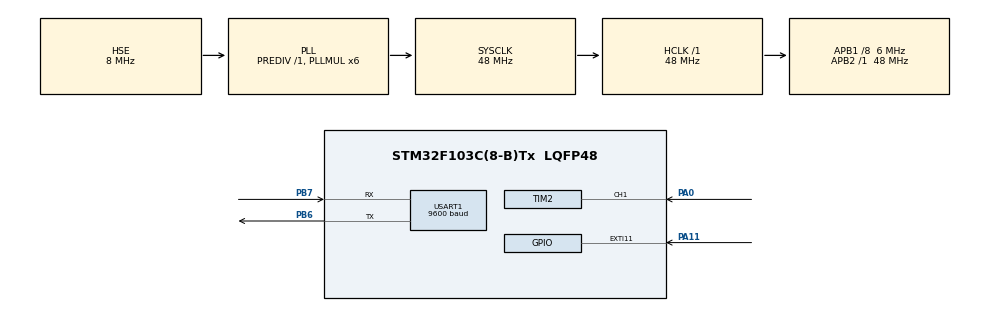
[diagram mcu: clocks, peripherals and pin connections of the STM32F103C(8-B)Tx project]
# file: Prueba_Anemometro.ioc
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Mcu.Family=STM32F1
Mcu.Name=STM32F103C(8-B)Tx
Mcu.Package=LQFP48
NVIC.EXTI15_10_IRQn=true\:0\:0\:false\:false\:true\:true\:true\:true
NVIC.PriorityGroup=NVIC_PRIORITYGROUP_4
NVIC.TIM2_IRQn=true\:0\:0\:false\:false\:true\:true\:true\:true
PA0-WKUP.Signal=S_TIM2_CH1_ETR
PA11.GPIO_ModeDefaultEXTI=GPIO_MODE_IT_FALLING
PA11.GPIO_PuPd=GPIO_NOPULL
PA11.Signal=GPXTI11
PA13.Mode=Serial_Wire
PA13.Signal=SYS_JTMS-SWDIO
PA14.Mode=Serial_Wire
PA14.Signal=SYS_JTCK-SWCLK
PB6.Mode=Asynchronous
PB6.Signal=USART1_TX
PB7.Mode=Asynchronous
PB7.Signal=USART1_RX
PD0-OSC_IN.Mode=HSE-External-Oscillator
PD0-OSC_IN.Signal=RCC_OSC_IN
PD1-OSC_OUT.Mode=HSE-External-Oscillator
PD1-OSC_OUT.Signal=RCC_OSC_OUT
ProjectManager.HeapSize=0x200
ProjectManager.StackSize=0x400
ProjectManager.TargetToolchain=STM32CubeIDE
RCC.AHBFreq_Value=48000000
RCC.APB1CLKDivider=RCC_HCLK_DIV8
RCC.APB1Freq_Value=6000000
RCC.APB1TimFreq_Value=12000000
RCC.APB2Freq_Value=48000000
RCC.APB2TimFreq_Value=48000000
RCC.HCLKFreq_Value=48000000
RCC.PLLMUL=RCC_PLL_MUL6
RCC.PLLSourceVirtual=RCC_PLLSOURCE_HSE
RCC.SYSCLKFreq_VALUE=48000000
RCC.SYSCLKSource=RCC_SYSCLKSOURCE_PLLCLK
RCC.USBFreq_Value=48000000
SH.S_TIM2_CH1_ETR.0=TIM2_CH1,Input_Capture1_from_TI1
TIM2.Channel-Input_Capture1_from_TI1=TIM_CHANNEL_1
TIM2.Channel-Output\ Compare2\ No\ Output=TIM_CHANNEL_2
TIM2.Period=59999
TIM2.Prescaler=60000
TIM2.Pulse-Output\ Compare2\ No\ Output=999
USART1.BaudRate=9600
USART1.VirtualMode=VM_ASYNC
VP_TIM2_VS_ClockSourceINT.Mode=Internal
VP_TIM2_VS_no_output2.Mode=Output Compare2 No Output
board=custom

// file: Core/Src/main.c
/* USER CODE BEGIN Header */
/**
  ******************************************************************************
  * @file           : main.c
  * @brief          : Main program body
  ******************************************************************************
  * @attention
  *
  * Copyright (c) 2022 STMicroelectronics.
  * All rights reserved.
  *
  * This software is licensed under terms that can be found in the LICENSE file
  * in the root directory of this software component.
  * If no LICENSE file comes with this software, it is provided AS-IS.
  *
  ******************************************************************************
  */
/* USER CODE END Header */
#include "main.h"

/* USER CODE BEGIN Includes */
#include "stdio.h"
#include "string.h"
/* USER CODE END Includes */

/* USER CODE BEGIN PD */
#define D 0.2098 // Diámetro de la trayectoria circular descrita por las cucharas del anemómetro (en m)
#define pi 3.141592654 // Número pi
#define N 60 // Número de muestras de vel. de viento a tomar en un intervalo de 5 min
/* USER CODE END PD */

TIM_HandleTypeDef htim2;

UART_HandleTypeDef huart1;

void SystemClock_Config(void);
static void MX_GPIO_Init(void);
static void MX_TIM2_Init(void);
static void MX_USART1_UART_Init(void);
/* USER CODE BEGIN PFP */
float Obtener_Vel_Viento(void);
float Promedio_Muestras(float[]);
/* USER CODE END PFP */

/* USER CODE BEGIN 0 */
/* Este programa permite tomar muestras de la velocidad del viento cada 10 s. El anemómetro funciona gracias
 * a un sensor detector de campo magnético por efecto Hall, el cual detecta el campo magnético generado por
 * un imán de neodimio ubicado sobre la pieza móvil. Cuando el sensor detecta el campo magnético, su salida
 * pasa de 1 a 0, lo que constituye un flanco descendente. A medida que la pieza móvil gira, el imán pasa
 * varias veces por la posición del sensor, por lo que se generan distintos pulsos que pueden ser detectados
 * mediante una interrupción por flanco descendente.
 * La velocidad del viento se mide contando la cantidad de pulsos generados en un intervalo de tiempo
 * determinado. En este caso, se contarán la cantidad de pulsos en 10 s, y luego se hará la conversión de
 * velocidad angular a velocidad lineal.
 * Para generar las demoras necesarias para el conteo de pulsos, se utilizará el timer TIM2. Se configura
 * el canal CH2 en modo output compare. El valor de autorecarga del contador (valor máximo) será de 60.000,
 * y la frecuencia de reloj del sistema es de 12 MHz. Para que el contador realice 60.000 cuentas en 5 min
 * (300 s), el prescaler debe valer 60.000. De esta manera, el contador realiza 200 cuentas en 1 s.
 * El canal 2 del TIM2 genera la demora necesaria para tomar las muestras de la velocidad del viento. Al
 * iniciar el programa, comienza el conteo de pulsos, y dicho conteo se realiza durante 10 s. Esto significa
 * que el registro de capture/compare del CH2 debe ser cargado inicialmente con el valor 1999, para que la
 * interrupción por OC se produzca al llegar a las 2000 cuentas. Los pulsos se cuentan a partir de las int.
 * por flanco descendente recibidas en el pin correspondiente.
 * Una vez que finaliza el conteo de los pulsos, se debe actualizar el valor del registro de capture/
 * compare del CH2, para que dicho canal genere otra interrupción por OC dentro de 10 s. Por lo tanto, al
 * contenido del registro de CC del CH2 se le debe sumar 2000. Al mismo tiempo, se deben deshabilitar las int.
 * externas para poder realizar el cálculo de la vel. del viento, y una vez finalizado el cálculo se vuelven
 * a habilitar dichas interrupciones.
 * Finalmente, cada 5 min se calculará el promedio de las muestras de velocidad de viento tomadas en los
 * últimos 5 min.
 */

_Bool flag_pulsos=0; // Variable bandera que se activa cuando termina el conteo de pulsos
uint16_t contpulsos=0; // Variable para contar los pulsos generados por el anemómetro en 1 s
_Bool flag_muestras=0; // Variable bandera que se activa cada 5 min cuando el contador llega a su valor máximo

void HAL_TIM_OC_DelayElapsedCallback (TIM_HandleTypeDef * htim){

	uint16_t pulse;
	/*switch(htim->Channel){
	case HAL_TIM_ACTIVE_CHANNEL_1:{
		flag_muestras=1;
		pulse=HAL_TIM_ReadCapturedValue(htim, TIM_CHANNEL_1);
		__HAL_TIM_SET_COMPARE(htim,TIM_CHANNEL_2,(pulse+(60000)));
	}
	break;
	case HAL_TIM_ACTIVE_CHANNEL_2:{
		HAL_NVIC_DisableIRQ(EXTI0_IRQn);
		flag_pulsos=1;
		pulse=HAL_TIM_ReadCapturedValue(htim, TIM_CHANNEL_2);
		__HAL_TIM_SET_COMPARE(htim,TIM_CHANNEL_2,(pulse+(2000)));
	}
	break;
	} */
	if(htim->Channel == HAL_TIM_ACTIVE_CHANNEL_2){
		HAL_NVIC_DisableIRQ(EXTI0_IRQn);
		flag_pulsos=1;
		pulse=HAL_TIM_ReadCapturedValue(htim, TIM_CHANNEL_2);

		if(__HAL_TIM_GET_AUTORELOAD(htim)>(pulse+1000)){
			__HAL_TIM_SET_COMPARE(htim,TIM_CHANNEL_2,(pulse+(1000)));
		}
		else {
			__HAL_TIM_SET_COMPARE(htim,TIM_CHANNEL_2,999);
		}
	}

	/*switch(htim->Channel){
	case HAL_TIM_ACTIVE_CHANNEL_1:{
		HAL_NVIC_DisableIRQ(EXTI0_IRQn);
		flag_pulsos=1;
		pulse = HAL_TIM_ReadCapturedValue(htim, TIM_CHANNEL_1);
		__HAL_TIM_SET_COMPARE(htim,TIM_CHANNEL_1,(pulse+(2200)));
		pulse=HAL_TIM_ReadCapturedValue(htim, TIM_CHANNEL_2);
		__HAL_TIM_SET_COMPARE(htim,TIM_CHANNEL_2,(pulse+(2000)));
	}
	break;
	case HAL_TIM_ACTIVE_CHANNEL_2:{
		HAL_NVIC_EnableIRQ(EXTI0_IRQn);
	}
	break;
	}*/

}

void HAL_TIM_PeriodElapsedCallback (TIM_HandleTypeDef * htim){

	flag_muestras=1;
}

void HAL_GPIO_EXTI_Callback (uint16_t GPIO_Pin){

	contpulsos++; // Incrementamos el contador de pulsos cada vez que recibimos una int por flanco descendente
}

float Obtener_Vel_Viento(void){

	float velangular; // Velocidad angular (en rad/s)
	float vellineal; // Velocidad lineal (en m/s)
	float velviento; // Velocidad lineal del viento (en km/h)

	/* Realizamos la conversión de velocidad angular a velocidad lineal */
	velangular=(contpulsos/5.0)*2.0*pi;
	vellineal=velangular*D/2;
	velviento=vellineal*3.6; // Convertimos de m/s a km/h

	return velviento;
}

float Promedio_Muestras(float v[]){

	float suma=0;
	float prom;
	for(int i=0;i<N;i++){
		suma=suma+v[i];
	}
	prom=suma/N;

	return prom;
}

/* USER CODE END 0 */

int main(void)
{

  /* MCU Configuration--------------------------------------------------------*/

  /* Reset of all peripherals, Initializes the Flash interface and the Systick. */
  HAL_Init();

  /* Configure the system clock */
  SystemClock_Config();

  /* Initialize all configured peripherals */
  MX_GPIO_Init();
  MX_TIM2_Init();
  MX_USART1_UART_Init();
  /* USER CODE BEGIN 2 */
  float vel[N]={0}; // Variable para guardar las muestras de velocidad del viento (en km/h)
  float velmed; // Velocidad del viento media (en km/h)
  uint8_t cantmuestras=0; // Cantidad de muestras de vel. del viento
  uint8_t buffer[40];

  /* USER CODE END 2 */

  /* Infinite loop */
  while (1)
  {

    /* USER CODE BEGIN 3 */
	  if(flag_muestras==1){
		  flag_muestras=0;
		  velmed=Promedio_Muestras(vel);
		  sprintf((char*)buffer,"*AVel del viento media: %2.2f km/h\n*",velmed);
		  HAL_UART_Transmit(&huart1, buffer, strlen((const char*)buffer),100);
		  cantmuestras=0;

	  }
	  if(flag_pulsos==1){
		  flag_pulsos=0;
		  vel[cantmuestras]=Obtener_Vel_Viento();
		  sprintf((char*)buffer,"*ACant. de pulsos: %d\n*",contpulsos);
		  HAL_UART_Transmit(&huart1, buffer, strlen((const char*)buffer),100);
		  sprintf((char*)buffer,"*AVel del viento: %2.2f km/h\n*",vel[cantmuestras]);
		  HAL_UART_Transmit(&huart1, buffer, strlen((const char*)buffer),100);
		  contpulsos=0;
		  cantmuestras++;
		  HAL_NVIC_EnableIRQ(EXTI0_IRQn);
	  }

  }
  /* USER CODE END 3 */
}

void SystemClock_Config(void)
{
  RCC_OscInitTypeDef RCC_OscInitStruct = {0};
  RCC_ClkInitTypeDef RCC_ClkInitStruct = {0};

  /** Initializes the RCC Oscillators according to the specified parameters
  * in the RCC_OscInitTypeDef structure.
  */
  RCC_OscInitStruct.OscillatorType = RCC_OSCILLATORTYPE_HSE;
  RCC_OscInitStruct.HSEState = RCC_HSE_ON;
  RCC_OscInitStruct.HSEPredivValue = RCC_HSE_PREDIV_DIV1;
  RCC_OscInitStruct.HSIState = RCC_HSI_ON;
  RCC_OscInitStruct.PLL.PLLState = RCC_PLL_ON;
  RCC_OscInitStruct.PLL.PLLSource = RCC_PLLSOURCE_HSE;
  RCC_OscInitStruct.PLL.PLLMUL = RCC_PLL_MUL6;
  if (HAL_RCC_OscConfig(&RCC_OscInitStruct) != HAL_OK)
  {
    Error_Handler();
  }

  /** Initializes the CPU, AHB and APB buses clocks
  */
  RCC_ClkInitStruct.ClockType = RCC_CLOCKTYPE_HCLK|RCC_CLOCKTYPE_SYSCLK
                              |RCC_CLOCKTYPE_PCLK1|RCC_CLOCKTYPE_PCLK2;
  RCC_ClkInitStruct.SYSCLKSource = RCC_SYSCLKSOURCE_PLLCLK;
  RCC_ClkInitStruct.AHBCLKDivider = RCC_SYSCLK_DIV1;
  RCC_ClkInitStruct.APB1CLKDivider = RCC_HCLK_DIV8;
  RCC_ClkInitStruct.APB2CLKDivider = RCC_HCLK_DIV1;

  if (HAL_RCC_ClockConfig(&RCC_ClkInitStruct, FLASH_LATENCY_1) != HAL_OK)
  {
    Error_Handler();
  }
}

static void MX_TIM2_Init(void)
{

  TIM_ClockConfigTypeDef sClockSourceConfig = {0};
  TIM_MasterConfigTypeDef sMasterConfig = {0};
  TIM_IC_InitTypeDef sConfigIC = {0};
  TIM_OC_InitTypeDef sConfigOC = {0};

  htim2.Instance = TIM2;
  htim2.Init.Prescaler = 60000;
  htim2.Init.CounterMode = TIM_COUNTERMODE_UP;
  htim2.Init.Period = 59999;
  htim2.Init.ClockDivision = TIM_CLOCKDIVISION_DIV1;
  htim2.Init.AutoReloadPreload = TIM_AUTORELOAD_PRELOAD_DISABLE;
  if (HAL_TIM_Base_Init(&htim2) != HAL_OK)
  {
    Error_Handler();
  }
  sClockSourceConfig.ClockSource = TIM_CLOCKSOURCE_INTERNAL;
  if (HAL_TIM_ConfigClockSource(&htim2, &sClockSourceConfig) != HAL_OK)
  {
    Error_Handler();
  }
  if (HAL_TIM_IC_Init(&htim2) != HAL_OK)
  {
    Error_Handler();
  }
  if (HAL_TIM_OC_Init(&htim2) != HAL_OK)
  {
    Error_Handler();
  }
  sMasterConfig.MasterOutputTrigger = TIM_TRGO_RESET;
  sMasterConfig.MasterSlaveMode = TIM_MASTERSLAVEMODE_DISABLE;
  if (HAL_TIMEx_MasterConfigSynchronization(&htim2, &sMasterConfig) != HAL_OK)
  {
    Error_Handler();
  }
  sConfigIC.ICPolarity = TIM_INPUTCHANNELPOLARITY_RISING;
  sConfigIC.ICSelection = TIM_ICSELECTION_DIRECTTI;
  sConfigIC.ICPrescaler = TIM_ICPSC_DIV1;
  sConfigIC.ICFilter = 0;
  if (HAL_TIM_IC_ConfigChannel(&htim2, &sConfigIC, TIM_CHANNEL_1) != HAL_OK)
  {
    Error_Handler();
  }
  sConfigOC.OCMode = TIM_OCMODE_TIMING;
  sConfigOC.Pulse = 999;
  sConfigOC.OCPolarity = TIM_OCPOLARITY_HIGH;
  sConfigOC.OCFastMode = TIM_OCFAST_DISABLE;
  if (HAL_TIM_OC_ConfigChannel(&htim2, &sConfigOC, TIM_CHANNEL_2) != HAL_OK)
  {
    Error_Handler();
  }
  /* USER CODE BEGIN TIM2_Init 2 */
  HAL_TIM_Base_Start_IT(&htim2);
  //HAL_TIM_OC_Start_IT(&htim2, TIM_CHANNEL_1); // Inicializamos el CH1 del TIM2 en modo output compare
  HAL_TIM_OC_Start_IT(&htim2, TIM_CHANNEL_2); // Inicializamos el CH2 del TIM2 en modo output compare
  /* USER CODE END TIM2_Init 2 */

}

static void MX_USART1_UART_Init(void)
{

  huart1.Instance = USART1;
  huart1.Init.BaudRate = 9600;
  huart1.Init.WordLength = UART_WORDLENGTH_8B;
  huart1.Init.StopBits = UART_STOPBITS_1;
  huart1.Init.Parity = UART_PARITY_NONE;
  huart1.Init.Mode = UART_MODE_TX_RX;
  huart1.Init.HwFlowCtl = UART_HWCONTROL_NONE;
  huart1.Init.OverSampling = UART_OVERSAMPLING_16;
  if (HAL_UART_Init(&huart1) != HAL_OK)
  {
    Error_Handler();
  }

}

static void MX_GPIO_Init(void)
{
  GPIO_InitTypeDef GPIO_InitStruct = {0};

  /* GPIO Ports Clock Enable */
  __HAL_RCC_GPIOD_CLK_ENABLE();
  __HAL_RCC_GPIOA_CLK_ENABLE();
  __HAL_RCC_GPIOB_CLK_ENABLE();

  /*Configure GPIO pin : PA11 */
  GPIO_InitStruct.Pin = GPIO_PIN_11;
  GPIO_InitStruct.Mode = GPIO_MODE_IT_FALLING;
  GPIO_InitStruct.Pull = GPIO_NOPULL;
  HAL_GPIO_Init(GPIOA, &GPIO_InitStruct);

  /* EXTI interrupt init*/
  HAL_NVIC_SetPriority(EXTI15_10_IRQn, 0, 0);
  HAL_NVIC_EnableIRQ(EXTI15_10_IRQn);

}

void Error_Handler(void)
{
  __disable_irq();
  while (1)
  {
  }
}
